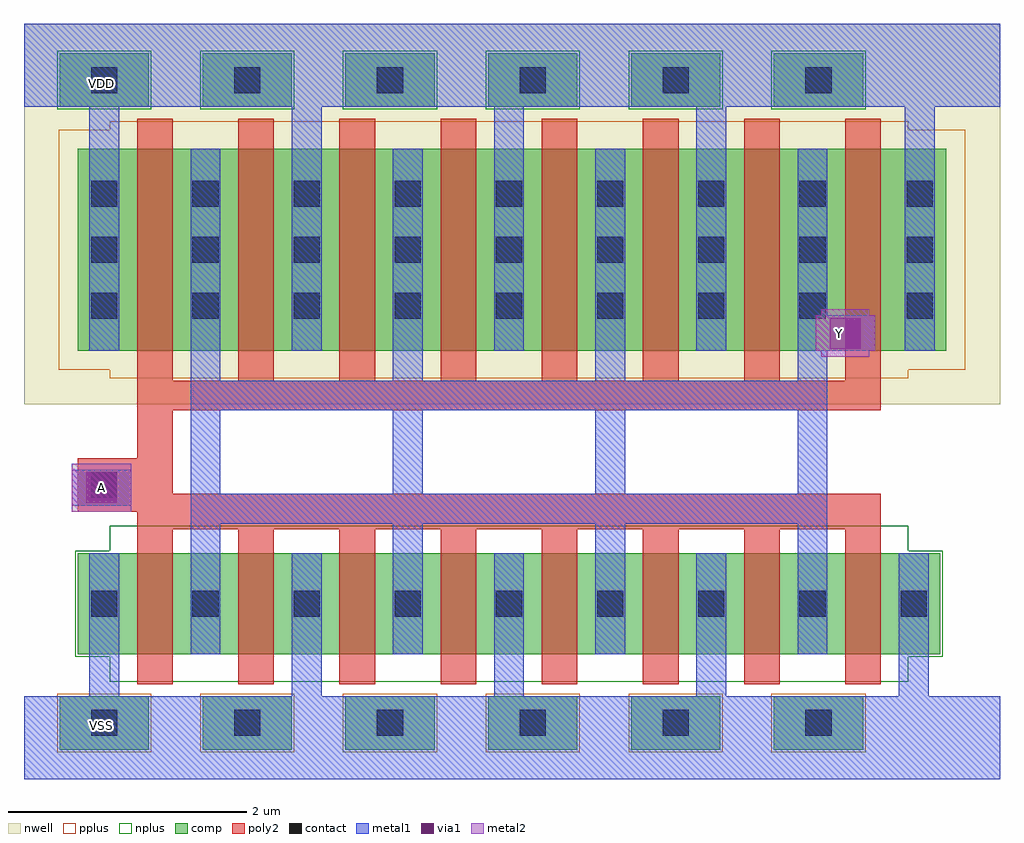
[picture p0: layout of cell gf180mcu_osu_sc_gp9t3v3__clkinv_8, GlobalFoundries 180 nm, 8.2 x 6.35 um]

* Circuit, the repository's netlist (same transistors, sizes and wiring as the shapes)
* Copyright 2022 Google LLC
*
* Licensed under the Apache License, Version 2.0 (the "License");
* you may not use this file except in compliance with the License.
* You may obtain a copy of the License at
*
*      http://www.apache.org/licenses/LICENSE-2.0
*
* Unless required by applicable law or agreed to in writing, software
* distributed under the License is distributed on an "AS IS" BASIS,
* WITHOUT WARRANTIES OR CONDITIONS OF ANY KIND, either express or implied.
* See the License for the specific language governing permissions and
* limitations under the License.

.option scale=0.05u

.subckt gf180mcu_osu_sc_gp9t3v3__clkinv_8 A Y
X0 VDD A Y VDD pmos_3p3 w=34 l=6
X1 VDD A Y VDD pmos_3p3 w=34 l=6
X2 VSS A Y VSS nmos_3p3 w=17 l=6
X3 Y A VSS VSS nmos_3p3 w=17 l=6
X4 Y A VSS VSS nmos_3p3 w=17 l=6
X5 VDD A Y VDD pmos_3p3 w=34 l=6
X6 Y A VSS VSS nmos_3p3 w=17 l=6
X7 Y A VDD VDD pmos_3p3 w=34 l=6
X8 Y A VDD VDD pmos_3p3 w=34 l=6
X9 Y A VDD VDD pmos_3p3 w=34 l=6
X10 Y A VSS VSS nmos_3p3 w=17 l=6
X11 VSS A Y VSS nmos_3p3 w=17 l=6
X12 Y A VDD VDD pmos_3p3 w=34 l=6
X13 VSS A Y VSS nmos_3p3 w=17 l=6
X14 VSS A Y VSS nmos_3p3 w=17 l=6
X15 VDD A Y VDD pmos_3p3 w=34 l=6
.ends

** hspice subcircuit dictionary

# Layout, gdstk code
import gdstk
lib = gdstk.Library(unit=1e-6, precision=1e-09)
def R(c, l, rs):  # rectangles x0, y0, x1, y1
    for r in rs: c.add(gdstk.rectangle(r[:2], r[2:], *l))
def A(c, l, x, y, w, h, nx, ny, dx, dy):  # array of equal rectangles
    R(c, l, [(x+i*dx, y+j*dy, x+i*dx+w, y+j*dy+h) for i in range(nx) for j in range(ny)])
nwell = (21, 0)
comp = (22, 0)
poly2 = (30, 0)
pplus = (31, 0)
nplus = (32, 0)
contact = (33, 0)
metal1 = (34, 0)
via1 = (35, 0)
metal2 = (36, 0)

gf180mcu_osu_sc_gp9t3v3_ = lib.new_cell('gf180mcu_osu_sc_gp9t3v3__clkinv_8')
R(gf180mcu_osu_sc_gp9t3v3_, nwell, [(0,3.15,8.2,6.35)])
A(gf180mcu_osu_sc_gp9t3v3_, comp, 0.3, 0.25, 0.75, 0.45, 6, 2, 1.2, 5.4)
R(gf180mcu_osu_sc_gp9t3v3_, comp, [(0.45,1.05,7.7,1.9), (0.45,3.6,7.75,5.3)])
A(gf180mcu_osu_sc_gp9t3v3_, poly2, 0.95, 0.8, 0.3, 1.3, 8, 1, 0.85, 0)
A(gf180mcu_osu_sc_gp9t3v3_, poly2, 0.95, 3.35, 0.3, 2.2, 8, 1, 0.85, 0)
R(gf180mcu_osu_sc_gp9t3v3_, poly2, [(0.95,2.1,7.2,2.25), (0.45,2.25,7.2,2.4), (0.45,2.4,1.25,2.7), (0.95,2.7,1.25,3.1), (0.95,3.1,7.2,3.35)])
A(gf180mcu_osu_sc_gp9t3v3_, pplus, 0.28, 0.23, 0.79, 0.49, 6, 1, 1.2, 0)
R(gf180mcu_osu_sc_gp9t3v3_, pplus, [(0.72,3.37,7.43,3.44), (0.29,3.44,7.91,5.46), (0.72,5.46,7.43,5.53)])
A(gf180mcu_osu_sc_gp9t3v3_, nplus, 0.28, 5.63, 0.79, 0.49, 6, 1, 1.2, 0)
R(gf180mcu_osu_sc_gp9t3v3_, nplus, [(0.72,0.82,7.43,1.03), (0.43,1.03,7.72,1.92), (0.72,1.92,7.43,2.13)])
A(gf180mcu_osu_sc_gp9t3v3_, contact, 0.565, 0.365, 0.22, 0.22, 6, 2, 1.2, 5.4)
A(gf180mcu_osu_sc_gp9t3v3_, contact, 0.565, 1.365, 0.22, 0.22, 9, 1, 0.85, 0)
A(gf180mcu_osu_sc_gp9t3v3_, contact, 0.565, 3.87, 0.22, 0.22, 8, 3, 0.85, 0.47)
A(gf180mcu_osu_sc_gp9t3v3_, contact, 7.415, 3.87, 0.22, 0.22, 1, 3, 0, 0.47)
R(gf180mcu_osu_sc_gp9t3v3_, contact, [(0.565,2.365,0.785,2.585)])
A(gf180mcu_osu_sc_gp9t3v3_, metal1, 0.55, 0.7, 0.25, 1.2, 5, 1, 1.7, 0)
A(gf180mcu_osu_sc_gp9t3v3_, metal1, 1.4, 1.05, 0.25, 1.1, 4, 1, 1.7, 0)
A(gf180mcu_osu_sc_gp9t3v3_, metal1, 1.4, 2.4, 0.25, 0.7, 4, 1, 1.7, 0)
A(gf180mcu_osu_sc_gp9t3v3_, metal1, 1.4, 3.35, 0.25, 1.95, 3, 1, 1.7, 0)
A(gf180mcu_osu_sc_gp9t3v3_, metal1, 0.55, 3.6, 0.25, 2.05, 4, 1, 1.7, 0)
R(gf180mcu_osu_sc_gp9t3v3_, metal1, [(0,0,8.2,0.7), (1.4,2.15,6.75,2.4), (0.4,2.3,0.9,2.6), (1.4,3.1,6.75,3.35), (6.5,3.35,6.75,3.6), (6.5,3.6,7.15,3.9), (7.4,3.6,7.65,5.65), (6.5,3.9,6.75,5.3), (0,5.65,8.2,6.35)])
R(gf180mcu_osu_sc_gp9t3v3_, via1, [(0.52,2.32,0.78,2.58), (6.77,3.62,7.03,3.88)])
R(gf180mcu_osu_sc_gp9t3v3_, metal2, [(0.4,2.25,0.9,2.65), (6.7,3.55,7.1,3.6), (6.65,3.6,7.15,3.9), (6.7,3.9,7.1,3.95)])
gf180mcu_osu_sc_gp9t3v3_.add(gdstk.Label('A', (0.65,2.45), layer=36, texttype=10))
gf180mcu_osu_sc_gp9t3v3_.add(gdstk.Label('Y', (6.85,3.75), layer=36, texttype=10))
gf180mcu_osu_sc_gp9t3v3_.add(gdstk.Label('VDD', (0.65,5.85), layer=34, texttype=10))
gf180mcu_osu_sc_gp9t3v3_.add(gdstk.Label('VSS', (0.65,0.45), layer=34, texttype=10))

lib.write_gds('gf180mcu_osu_sc_gp9t3v3__clkinv_8.gds')
